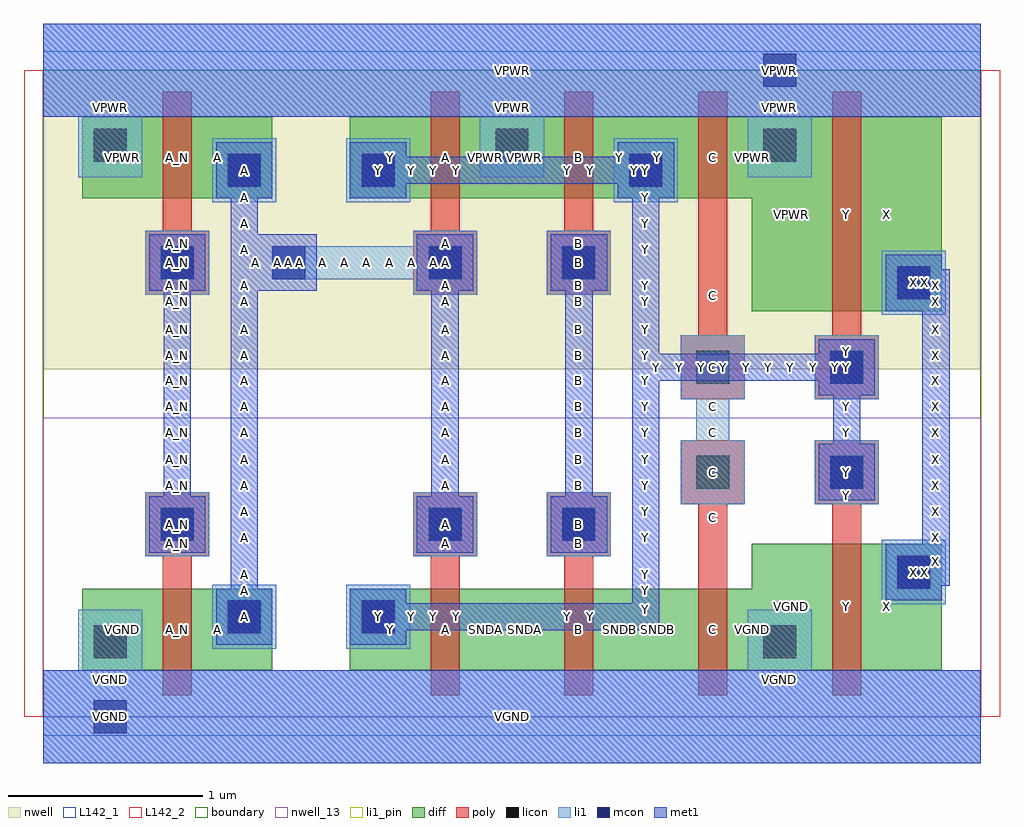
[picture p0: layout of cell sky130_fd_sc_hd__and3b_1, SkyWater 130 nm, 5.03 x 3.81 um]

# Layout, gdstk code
import gdstk
lib = gdstk.Library(unit=1e-6, precision=1e-09)
def R(c, l, rs):  # rectangles x0, y0, x1, y1
    for r in rs: c.add(gdstk.rectangle(r[:2], r[2:], *l))
def P(c, l, *ps):  # polygons
    for p in ps: c.add(gdstk.Polygon(p, *l))
nwell_13 = (64, 13)
nwell = (64, 20)
diff = (65, 20)
poly = (66, 20)
licon = (66, 44)
li1_pin = (67, 16)
li1 = (67, 20)
mcon = (67, 44)
met1 = (68, 20)
L142_1 = (142, 1)
L142_2 = (142, 2)
boundary = (235, 4)

sky130_fd_sc_hd__and3b_1 = lib.new_cell('sky130_fd_sc_hd__and3b_1')
R(sky130_fd_sc_hd__and3b_1, nwell_13, [(0,0,4.83,1.54)])
R(sky130_fd_sc_hd__and3b_1, nwell, [(0,1.79,4.83,3.33)])
R(sky130_fd_sc_hd__and3b_1, diff, [(0.2,0.24,1.18,0.66), (0.2,0.24,0.615,0.66), (0.615,0.24,1.18,0.66), (1.58,0.24,1.995,0.66), (1.995,0.24,2.685,0.66), (2.685,0.24,3.375,0.66), (4.065,0.24,4.63,0.89), (4.065,2.09,4.63,3.09), (0.2,2.67,1.18,3.09), (0.2,2.67,0.615,3.09), (0.615,2.67,1.18,3.09), (1.58,2.67,1.995,3.09), (1.995,2.67,2.685,3.09), (2.685,2.67,3.375,3.09)])
P(sky130_fd_sc_hd__and3b_1, diff, [(1.58,0.24),(1.58,0.66),(3.65,0.66),(3.65,0.89),(4.63,0.89),(4.63,0.24)],
  [(3.65,2.09),(3.65,2.67),(1.58,2.67),(1.58,3.09),(4.63,3.09),(4.63,2.09)],
  [(3.375,0.24),(3.375,0.66),(3.65,0.66),(3.65,0.89),(4.065,0.89),(4.065,0.24)],
  [(3.65,2.09),(3.65,2.67),(3.375,2.67),(3.375,3.09),(4.065,3.09),(4.065,2.09)])
P(sky130_fd_sc_hd__and3b_1, poly, [(2.685,0.11),(2.685,0.825),(2.595,0.825),(2.595,1.155),(2.925,1.155),(2.925,0.825),(2.835,0.825),(2.835,0.11)],
  [(2.595,2.175),(2.595,2.505),(2.685,2.505),(2.685,3.22),(2.835,3.22),(2.835,2.505),(2.925,2.505),(2.925,2.175)],
  [(4.065,0.11),(4.065,1.095),(3.975,1.095),(3.975,1.425),(4.305,1.425),(4.305,1.095),(4.215,1.095),(4.215,0.11)],
  [(3.975,1.635),(3.975,1.965),(4.065,1.965),(4.065,3.22),(4.215,3.22),(4.215,1.965),(4.305,1.965),(4.305,1.635)],
  [(0.615,0.11),(0.615,0.825),(0.525,0.825),(0.525,1.155),(0.855,1.155),(0.855,0.825),(0.765,0.825),(0.765,0.11)],
  [(0.525,2.175),(0.525,2.505),(0.615,2.505),(0.615,3.22),(0.765,3.22),(0.765,2.505),(0.855,2.505),(0.855,2.175)],
  [(3.375,0.11),(3.375,1.095),(3.285,1.095),(3.285,1.425),(3.615,1.425),(3.615,1.095),(3.525,1.095),(3.525,0.11)],
  [(3.285,1.635),(3.285,1.965),(3.375,1.965),(3.375,3.22),(3.525,3.22),(3.525,1.965),(3.615,1.965),(3.615,1.635)],
  [(1.995,0.11),(1.995,0.825),(1.905,0.825),(1.905,1.155),(2.235,1.155),(2.235,0.825),(2.145,0.825),(2.145,0.11)],
  [(1.905,2.175),(1.905,2.505),(1.995,2.505),(1.995,3.22),(2.145,3.22),(2.145,2.505),(2.235,2.505),(2.235,2.175)])
R(sky130_fd_sc_hd__and3b_1, licon, [(0.26,0.3,0.43,0.47), (3.71,0.3,3.88,0.47), (0.95,0.43,1.12,0.6), (1.64,0.43,1.81,0.6), (4.4,0.66,4.57,0.83), (0.605,0.905,0.775,1.075), (1.985,0.905,2.155,1.075), (2.675,0.905,2.845,1.075), (3.365,1.175,3.535,1.345), (4.055,1.175,4.225,1.345), (3.365,1.715,3.535,1.885), (4.055,1.715,4.225,1.885), (4.4,2.15,4.57,2.32), (0.605,2.255,0.775,2.425), (1.985,2.255,2.155,2.425), (2.675,2.255,2.845,2.425), (0.95,2.73,1.12,2.9), (1.64,2.73,1.81,2.9), (3.02,2.73,3.19,2.9), (0.26,2.86,0.43,3.03), (2.33,2.86,2.5,3.03), (3.71,2.86,3.88,3.03)])
R(sky130_fd_sc_hd__and3b_1, li1_pin, [(0,-0.24,4.83,0.24), (4.32,0.58,4.65,0.91), (0.525,0.825,0.855,1.155), (2.595,0.825,2.925,1.155), (0,3.09,4.83,3.57)])
P(sky130_fd_sc_hd__and3b_1, li1_pin, [(3.285,1.095),(3.285,1.425),(3.365,1.425),(3.365,1.635),(3.285,1.635),(3.285,1.965),(3.615,1.965),(3.615,1.635),(3.535,1.635),(3.535,1.425),(3.615,1.425),(3.615,1.095)])
R(sky130_fd_sc_hd__and3b_1, li1, [(0.87,0.35,1.2,0.68), (1.56,0.35,1.89,0.68), (4.32,0.58,4.65,0.91), (0.525,0.825,0.855,1.155), (1.905,0.825,2.235,1.155), (2.595,0.825,2.925,1.155), (3.975,1.095,4.305,1.425), (3.975,1.635,4.305,1.965), (4.32,2.07,4.65,2.4), (0.525,2.175,0.855,2.505), (2.595,2.175,2.925,2.505), (0.87,2.65,1.2,2.98), (1.56,2.65,1.89,2.98), (2.94,2.65,3.27,2.98)])
P(sky130_fd_sc_hd__and3b_1, li1, [(0.18,2.78),(0.18,3.09),(0,3.09),(0,3.57),(4.83,3.57),(4.83,3.09),(3.96,3.09),(3.96,2.78),(3.63,2.78),(3.63,3.09),(2.58,3.09),(2.58,2.78),(2.25,2.78),(2.25,3.09),(0.51,3.09),(0.51,2.78)],
  [(3.285,1.095),(3.285,1.425),(3.365,1.425),(3.365,1.635),(3.285,1.635),(3.285,1.965),(3.615,1.965),(3.615,1.635),(3.535,1.635),(3.535,1.425),(3.615,1.425),(3.615,1.095)],
  [(0,-0.24),(0,0.24),(0.18,0.24),(0.18,0.55),(0.51,0.55),(0.51,0.24),(3.63,0.24),(3.63,0.55),(3.96,0.55),(3.96,0.24),(4.83,0.24),(4.83,-0.24)],
  [(1.905,2.175),(1.905,2.255),(1.18,2.255),(1.18,2.425),(1.905,2.425),(1.905,2.505),(2.235,2.505),(2.235,2.175)])
R(sky130_fd_sc_hd__and3b_1, mcon, [(0.26,-0.085,0.43,0.085), (0.95,0.43,1.12,0.6), (1.64,0.43,1.81,0.6), (4.4,0.66,4.57,0.83), (0.605,0.905,0.775,1.075), (1.985,0.905,2.155,1.075), (2.675,0.905,2.845,1.075), (4.055,1.175,4.225,1.345), (4.055,1.715,4.225,1.885), (4.4,2.15,4.57,2.32), (0.605,2.255,0.775,2.425), (1.18,2.255,1.35,2.425), (1.985,2.255,2.155,2.425), (2.675,2.255,2.845,2.425), (0.95,2.73,1.12,2.9), (1.64,2.73,1.81,2.9), (3.02,2.73,3.19,2.9), (3.71,3.245,3.88,3.415)])
R(sky130_fd_sc_hd__and3b_1, met1, [(0,-0.24,4.83,0.24), (1.105,2.195,1.12,2.27), (1.105,2.41,1.12,2.485), (0,3.09,4.83,3.57)])
P(sky130_fd_sc_hd__and3b_1, met1, [(2.615,0.845),(2.615,1.135),(2.69,1.135),(2.69,2.195),(2.615,2.195),(2.615,2.485),(2.905,2.485),(2.905,2.195),(2.83,2.195),(2.83,1.135),(2.905,1.135),(2.905,0.845)],
  [(1.58,0.37),(1.58,0.66),(1.87,0.66),(1.87,0.585),(3.035,0.585),(3.035,2.67),(2.96,2.67),(2.96,2.745),(1.87,2.745),(1.87,2.67),(1.58,2.67),(1.58,2.96),(1.87,2.96),(1.87,2.885),(2.96,2.885),(2.96,2.96),(3.25,2.96),(3.25,2.67),(3.175,2.67),(3.175,1.87),(3.995,1.87),(3.995,1.945),(4.285,1.945),(4.285,1.655),(4.21,1.655),(4.21,1.405),(4.285,1.405),(4.285,1.115),(3.995,1.115),(3.995,1.405),(4.07,1.405),(4.07,1.655),(3.995,1.655),(3.995,1.73),(3.175,1.73),(3.175,0.445),(1.87,0.445),(1.87,0.37)],
  [(0.545,0.845),(0.545,1.135),(0.62,1.135),(0.62,2.195),(0.545,2.195),(0.545,2.485),(0.835,2.485),(0.835,2.195),(0.76,2.195),(0.76,1.135),(0.835,1.135),(0.835,0.845)],
  [(1.925,0.845),(1.925,1.135),(2,1.135),(2,2.195),(1.925,2.195),(1.925,2.485),(2.215,2.485),(2.215,2.195),(2.14,2.195),(2.14,1.135),(2.215,1.135),(2.215,0.845)],
  [(0.89,0.37),(0.89,0.66),(0.965,0.66),(0.965,2.67),(0.89,2.67),(0.89,2.96),(1.18,2.96),(1.18,2.67),(1.105,2.67),(1.105,2.41),(1.12,2.41),(1.12,2.485),(1.41,2.485),(1.41,2.195),(1.12,2.195),(1.12,2.27),(1.105,2.27),(1.105,0.66),(1.18,0.66),(1.18,0.37)],
  [(4.34,0.6),(4.34,0.89),(4.53,0.89),(4.53,2.09),(4.34,2.09),(4.34,2.38),(4.63,2.38),(4.63,2.305),(4.67,2.305),(4.67,0.675),(4.63,0.675),(4.63,0.6)])
R(sky130_fd_sc_hd__and3b_1, L142_1, [(0,-0.1,4.83,0), (0,3.33,4.83,3.43)])
R(sky130_fd_sc_hd__and3b_1, L142_2, [(-0.1,0,0,3.33), (4.83,0,4.93,3.33)])
R(sky130_fd_sc_hd__and3b_1, boundary, [(0,0,4.83,3.33)])
sky130_fd_sc_hd__and3b_1.add(gdstk.Label('VGND', (0.407,0.45), layer=65, texttype=20))
sky130_fd_sc_hd__and3b_1.add(gdstk.Label('A', (0.897,0.45), layer=65, texttype=20))
sky130_fd_sc_hd__and3b_1.add(gdstk.Label('SNDA', (2.477,0.45), layer=65, texttype=20))
sky130_fd_sc_hd__and3b_1.add(gdstk.Label('SNDB', (2.967,0.45), layer=65, texttype=20))
sky130_fd_sc_hd__and3b_1.add(gdstk.Label('Y', (1.787,0.45), layer=65, texttype=20))
sky130_fd_sc_hd__and3b_1.add(gdstk.Label('SNDA', (2.277,0.45), layer=65, texttype=20))
sky130_fd_sc_hd__and3b_1.add(gdstk.Label('VGND', (3.857,0.565), layer=65, texttype=20))
sky130_fd_sc_hd__and3b_1.add(gdstk.Label('X', (4.347,0.565), layer=65, texttype=20))
sky130_fd_sc_hd__and3b_1.add(gdstk.Label('SNDB', (3.167,0.45), layer=65, texttype=20))
sky130_fd_sc_hd__and3b_1.add(gdstk.Label('VGND', (3.657,0.45), layer=65, texttype=20))
sky130_fd_sc_hd__and3b_1.add(gdstk.Label('VGND', (0.407,0.45), layer=65, texttype=20))
sky130_fd_sc_hd__and3b_1.add(gdstk.Label('A', (0.897,0.45), layer=65, texttype=20))
sky130_fd_sc_hd__and3b_1.add(gdstk.Label('SNDA', (2.477,0.45), layer=65, texttype=20))
sky130_fd_sc_hd__and3b_1.add(gdstk.Label('SNDB', (2.967,0.45), layer=65, texttype=20))
sky130_fd_sc_hd__and3b_1.add(gdstk.Label('Y', (1.787,0.45), layer=65, texttype=20))
sky130_fd_sc_hd__and3b_1.add(gdstk.Label('SNDA', (2.277,0.45), layer=65, texttype=20))
sky130_fd_sc_hd__and3b_1.add(gdstk.Label('VGND', (3.857,0.565), layer=65, texttype=20))
sky130_fd_sc_hd__and3b_1.add(gdstk.Label('X', (4.347,0.565), layer=65, texttype=20))
sky130_fd_sc_hd__and3b_1.add(gdstk.Label('SNDB', (3.167,0.45), layer=65, texttype=20))
sky130_fd_sc_hd__and3b_1.add(gdstk.Label('VGND', (3.657,0.45), layer=65, texttype=20))
sky130_fd_sc_hd__and3b_1.add(gdstk.Label('VGND', (0.345,0.385), layer=65, texttype=20))
sky130_fd_sc_hd__and3b_1.add(gdstk.Label('VGND', (3.795,0.385), layer=65, texttype=20))
sky130_fd_sc_hd__and3b_1.add(gdstk.Label('A', (1.035,0.515), layer=65, texttype=20))
sky130_fd_sc_hd__and3b_1.add(gdstk.Label('Y', (1.725,0.515), layer=65, texttype=20))
sky130_fd_sc_hd__and3b_1.add(gdstk.Label('X', (4.485,0.745), layer=65, texttype=20))
sky130_fd_sc_hd__and3b_1.add(gdstk.Label('Y', (3.167,2.88), layer=65, texttype=20))
sky130_fd_sc_hd__and3b_1.add(gdstk.Label('VPWR', (3.657,2.88), layer=65, texttype=20))
sky130_fd_sc_hd__and3b_1.add(gdstk.Label('VPWR', (2.477,2.88), layer=65, texttype=20))
sky130_fd_sc_hd__and3b_1.add(gdstk.Label('Y', (2.967,2.88), layer=65, texttype=20))
sky130_fd_sc_hd__and3b_1.add(gdstk.Label('Y', (1.787,2.88), layer=65, texttype=20))
sky130_fd_sc_hd__and3b_1.add(gdstk.Label('VPWR', (2.277,2.88), layer=65, texttype=20))
sky130_fd_sc_hd__and3b_1.add(gdstk.Label('VPWR', (3.857,2.59), layer=65, texttype=20))
sky130_fd_sc_hd__and3b_1.add(gdstk.Label('X', (4.347,2.59), layer=65, texttype=20))
sky130_fd_sc_hd__and3b_1.add(gdstk.Label('VPWR', (0.407,2.88), layer=65, texttype=20))
sky130_fd_sc_hd__and3b_1.add(gdstk.Label('A', (0.897,2.88), layer=65, texttype=20))
sky130_fd_sc_hd__and3b_1.add(gdstk.Label('Y', (3.167,2.88), layer=65, texttype=20))
sky130_fd_sc_hd__and3b_1.add(gdstk.Label('VPWR', (3.657,2.88), layer=65, texttype=20))
sky130_fd_sc_hd__and3b_1.add(gdstk.Label('VPWR', (2.477,2.88), layer=65, texttype=20))
sky130_fd_sc_hd__and3b_1.add(gdstk.Label('Y', (2.967,2.88), layer=65, texttype=20))
sky130_fd_sc_hd__and3b_1.add(gdstk.Label('Y', (1.787,2.88), layer=65, texttype=20))
sky130_fd_sc_hd__and3b_1.add(gdstk.Label('VPWR', (2.277,2.88), layer=65, texttype=20))
sky130_fd_sc_hd__and3b_1.add(gdstk.Label('VPWR', (3.857,2.59), layer=65, texttype=20))
sky130_fd_sc_hd__and3b_1.add(gdstk.Label('X', (4.347,2.59), layer=65, texttype=20))
sky130_fd_sc_hd__and3b_1.add(gdstk.Label('VPWR', (0.407,2.88), layer=65, texttype=20))
sky130_fd_sc_hd__and3b_1.add(gdstk.Label('A', (0.897,2.88), layer=65, texttype=20))
sky130_fd_sc_hd__and3b_1.add(gdstk.Label('A', (1.035,2.815), layer=65, texttype=20))
sky130_fd_sc_hd__and3b_1.add(gdstk.Label('Y', (3.105,2.815), layer=65, texttype=20))
sky130_fd_sc_hd__and3b_1.add(gdstk.Label('Y', (1.725,2.815), layer=65, texttype=20))
sky130_fd_sc_hd__and3b_1.add(gdstk.Label('X', (4.485,2.235), layer=65, texttype=20))
sky130_fd_sc_hd__and3b_1.add(gdstk.Label('VPWR', (3.795,2.945), layer=65, texttype=20))
sky130_fd_sc_hd__and3b_1.add(gdstk.Label('VPWR', (0.345,2.945), layer=65, texttype=20))
sky130_fd_sc_hd__and3b_1.add(gdstk.Label('VPWR', (2.415,2.945), layer=65, texttype=20))
sky130_fd_sc_hd__and3b_1.add(gdstk.Label('A_N', (0.69,0.45), layer=66, texttype=20))
sky130_fd_sc_hd__and3b_1.add(gdstk.Label('C', (3.45,2.88), layer=66, texttype=20))
sky130_fd_sc_hd__and3b_1.add(gdstk.Label('B', (2.76,0.45), layer=66, texttype=20))
sky130_fd_sc_hd__and3b_1.add(gdstk.Label('B', (2.76,2.88), layer=66, texttype=20))
sky130_fd_sc_hd__and3b_1.add(gdstk.Label('A', (2.07,2.88), layer=66, texttype=20))
sky130_fd_sc_hd__and3b_1.add(gdstk.Label('Y', (4.14,2.59), layer=66, texttype=20))
sky130_fd_sc_hd__and3b_1.add(gdstk.Label('A', (2.07,0.45), layer=66, texttype=20))
sky130_fd_sc_hd__and3b_1.add(gdstk.Label('Y', (4.14,0.565), layer=66, texttype=20))
sky130_fd_sc_hd__and3b_1.add(gdstk.Label('A_N', (0.69,2.88), layer=66, texttype=20))
sky130_fd_sc_hd__and3b_1.add(gdstk.Label('C', (3.45,0.45), layer=66, texttype=20))
sky130_fd_sc_hd__and3b_1.add(gdstk.Label('A_N', (0.69,0.45), layer=66, texttype=20))
sky130_fd_sc_hd__and3b_1.add(gdstk.Label('C', (3.45,2.88), layer=66, texttype=20))
sky130_fd_sc_hd__and3b_1.add(gdstk.Label('B', (2.76,0.45), layer=66, texttype=20))
sky130_fd_sc_hd__and3b_1.add(gdstk.Label('B', (2.76,2.88), layer=66, texttype=20))
sky130_fd_sc_hd__and3b_1.add(gdstk.Label('A', (2.07,2.88), layer=66, texttype=20))
sky130_fd_sc_hd__and3b_1.add(gdstk.Label('Y', (4.14,2.59), layer=66, texttype=20))
sky130_fd_sc_hd__and3b_1.add(gdstk.Label('A', (2.07,0.45), layer=66, texttype=20))
sky130_fd_sc_hd__and3b_1.add(gdstk.Label('Y', (4.14,0.565), layer=66, texttype=20))
sky130_fd_sc_hd__and3b_1.add(gdstk.Label('A_N', (0.69,2.88), layer=66, texttype=20))
sky130_fd_sc_hd__and3b_1.add(gdstk.Label('C', (3.45,0.45), layer=66, texttype=20))
sky130_fd_sc_hd__and3b_1.add(gdstk.Label('A', (2.07,2.44), layer=66, texttype=20))
sky130_fd_sc_hd__and3b_1.add(gdstk.Label('A', (2.07,0.89), layer=66, texttype=20))
sky130_fd_sc_hd__and3b_1.add(gdstk.Label('Y', (4.14,1.88), layer=66, texttype=20))
sky130_fd_sc_hd__and3b_1.add(gdstk.Label('Y', (4.14,1.14), layer=66, texttype=20))
sky130_fd_sc_hd__and3b_1.add(gdstk.Label('A_N', (0.69,0.89), layer=66, texttype=20))
sky130_fd_sc_hd__and3b_1.add(gdstk.Label('A_N', (0.69,2.44), layer=66, texttype=20))
sky130_fd_sc_hd__and3b_1.add(gdstk.Label('C', (3.45,2.17), layer=66, texttype=20))
sky130_fd_sc_hd__and3b_1.add(gdstk.Label('C', (3.45,1.025), layer=66, texttype=20))
sky130_fd_sc_hd__and3b_1.add(gdstk.Label('B', (2.76,0.89), layer=66, texttype=20))
sky130_fd_sc_hd__and3b_1.add(gdstk.Label('B', (2.76,2.44), layer=66, texttype=20))
sky130_fd_sc_hd__and3b_1.add(gdstk.Label('A', (2.07,2.34), layer=66, texttype=20))
sky130_fd_sc_hd__and3b_1.add(gdstk.Label('A', (2.07,0.99), layer=66, texttype=20))
sky130_fd_sc_hd__and3b_1.add(gdstk.Label('Y', (4.14,1.8), layer=66, texttype=20))
sky130_fd_sc_hd__and3b_1.add(gdstk.Label('Y', (4.14,1.26), layer=66, texttype=20))
sky130_fd_sc_hd__and3b_1.add(gdstk.Label('A_N', (0.69,0.99), layer=66, texttype=20))
sky130_fd_sc_hd__and3b_1.add(gdstk.Label('A_N', (0.69,2.34), layer=66, texttype=20))
sky130_fd_sc_hd__and3b_1.add(gdstk.Label('C', (3.45,1.8), layer=66, texttype=20))
sky130_fd_sc_hd__and3b_1.add(gdstk.Label('C', (3.45,1.26), layer=66, texttype=20))
sky130_fd_sc_hd__and3b_1.add(gdstk.Label('B', (2.76,0.99), layer=66, texttype=20))
sky130_fd_sc_hd__and3b_1.add(gdstk.Label('B', (2.76,2.34), layer=66, texttype=20))
sky130_fd_sc_hd__and3b_1.add(gdstk.Label('A', (1.035,2.815), layer=66, texttype=44))
sky130_fd_sc_hd__and3b_1.add(gdstk.Label('Y', (3.105,2.815), layer=66, texttype=44))
sky130_fd_sc_hd__and3b_1.add(gdstk.Label('Y', (1.725,2.815), layer=66, texttype=44))
sky130_fd_sc_hd__and3b_1.add(gdstk.Label('X', (4.485,2.235), layer=66, texttype=44))
sky130_fd_sc_hd__and3b_1.add(gdstk.Label('VPWR', (3.795,2.945), layer=66, texttype=44))
sky130_fd_sc_hd__and3b_1.add(gdstk.Label('VPWR', (0.345,2.945), layer=66, texttype=44))
sky130_fd_sc_hd__and3b_1.add(gdstk.Label('VPWR', (2.415,2.945), layer=66, texttype=44))
sky130_fd_sc_hd__and3b_1.add(gdstk.Label('VGND', (0.345,0.385), layer=66, texttype=44))
sky130_fd_sc_hd__and3b_1.add(gdstk.Label('VGND', (3.795,0.385), layer=66, texttype=44))
sky130_fd_sc_hd__and3b_1.add(gdstk.Label('A', (1.035,0.515), layer=66, texttype=44))
sky130_fd_sc_hd__and3b_1.add(gdstk.Label('Y', (1.725,0.515), layer=66, texttype=44))
sky130_fd_sc_hd__and3b_1.add(gdstk.Label('X', (4.485,0.745), layer=66, texttype=44))
sky130_fd_sc_hd__and3b_1.add(gdstk.Label('A', (2.07,2.34), layer=66, texttype=44))
sky130_fd_sc_hd__and3b_1.add(gdstk.Label('A', (2.07,0.99), layer=66, texttype=44))
sky130_fd_sc_hd__and3b_1.add(gdstk.Label('Y', (4.14,1.8), layer=66, texttype=44))
sky130_fd_sc_hd__and3b_1.add(gdstk.Label('Y', (4.14,1.26), layer=66, texttype=44))
sky130_fd_sc_hd__and3b_1.add(gdstk.Label('A_N', (0.69,0.99), layer=66, texttype=44))
sky130_fd_sc_hd__and3b_1.add(gdstk.Label('A_N', (0.69,2.34), layer=66, texttype=44))
sky130_fd_sc_hd__and3b_1.add(gdstk.Label('C', (3.45,1.8), layer=66, texttype=44))
sky130_fd_sc_hd__and3b_1.add(gdstk.Label('C', (3.45,1.26), layer=66, texttype=44))
sky130_fd_sc_hd__and3b_1.add(gdstk.Label('B', (2.76,0.99), layer=66, texttype=44))
sky130_fd_sc_hd__and3b_1.add(gdstk.Label('B', (2.76,2.34), layer=66, texttype=44))
sky130_fd_sc_hd__and3b_1.add(gdstk.Label('VPWR', (2.415,3.33), layer=67, texttype=20))
sky130_fd_sc_hd__and3b_1.add(gdstk.Label('VGND', (2.415,0), layer=67, texttype=20))
sky130_fd_sc_hd__and3b_1.add(gdstk.Label('VPWR', (2.415,3.33), layer=67, texttype=20))
sky130_fd_sc_hd__and3b_1.add(gdstk.Label('VGND', (2.415,0), layer=67, texttype=20))
sky130_fd_sc_hd__and3b_1.add(gdstk.Label('VGND', (0.345,0.192), layer=67, texttype=20))
sky130_fd_sc_hd__and3b_1.add(gdstk.Label('VGND', (3.795,0.192), layer=67, texttype=20))
sky130_fd_sc_hd__and3b_1.add(gdstk.Label('A', (1.322,2.34), layer=67, texttype=20))
sky130_fd_sc_hd__and3b_1.add(gdstk.Label('A', (1.437,2.34), layer=67, texttype=20))
sky130_fd_sc_hd__and3b_1.add(gdstk.Label('A', (1.552,2.34), layer=67, texttype=20))
sky130_fd_sc_hd__and3b_1.add(gdstk.Label('A', (1.667,2.34), layer=67, texttype=20))
sky130_fd_sc_hd__and3b_1.add(gdstk.Label('A', (1.782,2.34), layer=67, texttype=20))
sky130_fd_sc_hd__and3b_1.add(gdstk.Label('A', (1.897,2.34), layer=67, texttype=20))
sky130_fd_sc_hd__and3b_1.add(gdstk.Label('A', (2.012,2.34), layer=67, texttype=20))
sky130_fd_sc_hd__and3b_1.add(gdstk.Label('VPWR', (3.795,3.137), layer=67, texttype=20))
sky130_fd_sc_hd__and3b_1.add(gdstk.Label('VPWR', (0.345,3.137), layer=67, texttype=20))
sky130_fd_sc_hd__and3b_1.add(gdstk.Label('VPWR', (2.415,3.137), layer=67, texttype=20))
sky130_fd_sc_hd__and3b_1.add(gdstk.Label('C', (3.45,1.732), layer=67, texttype=20))
sky130_fd_sc_hd__and3b_1.add(gdstk.Label('C', (3.45,1.597), layer=67, texttype=20))
sky130_fd_sc_hd__and3b_1.add(gdstk.Label('C', (3.45,1.462), layer=67, texttype=20))
sky130_fd_sc_hd__and3b_1.add(gdstk.Label('C', (3.45,1.327), layer=67, texttype=20))
sky130_fd_sc_hd__and3b_1.add(gdstk.Label('VGND', (0.345,0.385), layer=67, texttype=20))
sky130_fd_sc_hd__and3b_1.add(gdstk.Label('VGND', (0.345,0), layer=67, texttype=20))
sky130_fd_sc_hd__and3b_1.add(gdstk.Label('VGND', (3.795,0.385), layer=67, texttype=20))
sky130_fd_sc_hd__and3b_1.add(gdstk.Label('A', (1.035,0.515), layer=67, texttype=20))
sky130_fd_sc_hd__and3b_1.add(gdstk.Label('A', (1.035,0.515), layer=67, texttype=20))
sky130_fd_sc_hd__and3b_1.add(gdstk.Label('A', (1.035,2.815), layer=67, texttype=20))
sky130_fd_sc_hd__and3b_1.add(gdstk.Label('A', (1.035,2.815), layer=67, texttype=20))
sky130_fd_sc_hd__and3b_1.add(gdstk.Label('A', (1.265,2.34), layer=67, texttype=20))
sky130_fd_sc_hd__and3b_1.add(gdstk.Label('A', (2.07,2.34), layer=67, texttype=20))
sky130_fd_sc_hd__and3b_1.add(gdstk.Label('A', (2.07,2.34), layer=67, texttype=20))
sky130_fd_sc_hd__and3b_1.add(gdstk.Label('A', (2.07,0.99), layer=67, texttype=20))
sky130_fd_sc_hd__and3b_1.add(gdstk.Label('A', (2.07,0.99), layer=67, texttype=20))
sky130_fd_sc_hd__and3b_1.add(gdstk.Label('Y', (1.725,0.515), layer=67, texttype=20))
sky130_fd_sc_hd__and3b_1.add(gdstk.Label('Y', (1.725,0.515), layer=67, texttype=20))
sky130_fd_sc_hd__and3b_1.add(gdstk.Label('Y', (3.105,2.815), layer=67, texttype=20))
sky130_fd_sc_hd__and3b_1.add(gdstk.Label('Y', (3.105,2.815), layer=67, texttype=20))
sky130_fd_sc_hd__and3b_1.add(gdstk.Label('Y', (4.14,1.8), layer=67, texttype=20))
sky130_fd_sc_hd__and3b_1.add(gdstk.Label('Y', (4.14,1.8), layer=67, texttype=20))
sky130_fd_sc_hd__and3b_1.add(gdstk.Label('Y', (4.14,1.26), layer=67, texttype=20))
sky130_fd_sc_hd__and3b_1.add(gdstk.Label('Y', (4.14,1.26), layer=67, texttype=20))
sky130_fd_sc_hd__and3b_1.add(gdstk.Label('Y', (1.725,2.815), layer=67, texttype=20))
sky130_fd_sc_hd__and3b_1.add(gdstk.Label('Y', (1.725,2.815), layer=67, texttype=20))
sky130_fd_sc_hd__and3b_1.add(gdstk.Label('X', (4.485,0.745), layer=67, texttype=20))
sky130_fd_sc_hd__and3b_1.add(gdstk.Label('X', (4.485,0.745), layer=67, texttype=20))
sky130_fd_sc_hd__and3b_1.add(gdstk.Label('X', (4.485,2.235), layer=67, texttype=20))
sky130_fd_sc_hd__and3b_1.add(gdstk.Label('X', (4.485,2.235), layer=67, texttype=20))
sky130_fd_sc_hd__and3b_1.add(gdstk.Label('VPWR', (3.795,2.945), layer=67, texttype=20))
sky130_fd_sc_hd__and3b_1.add(gdstk.Label('VPWR', (3.795,3.33), layer=67, texttype=20))
sky130_fd_sc_hd__and3b_1.add(gdstk.Label('VPWR', (0.345,2.945), layer=67, texttype=20))
sky130_fd_sc_hd__and3b_1.add(gdstk.Label('VPWR', (2.415,2.945), layer=67, texttype=20))
sky130_fd_sc_hd__and3b_1.add(gdstk.Label('A_N', (0.69,0.99), layer=67, texttype=20))
sky130_fd_sc_hd__and3b_1.add(gdstk.Label('A_N', (0.69,0.99), layer=67, texttype=20))
sky130_fd_sc_hd__and3b_1.add(gdstk.Label('A_N', (0.69,2.34), layer=67, texttype=20))
sky130_fd_sc_hd__and3b_1.add(gdstk.Label('A_N', (0.69,2.34), layer=67, texttype=20))
sky130_fd_sc_hd__and3b_1.add(gdstk.Label('C', (3.45,1.8), layer=67, texttype=20))
sky130_fd_sc_hd__and3b_1.add(gdstk.Label('C', (3.45,1.26), layer=67, texttype=20))
sky130_fd_sc_hd__and3b_1.add(gdstk.Label('B', (2.76,0.99), layer=67, texttype=20))
sky130_fd_sc_hd__and3b_1.add(gdstk.Label('B', (2.76,0.99), layer=67, texttype=20))
sky130_fd_sc_hd__and3b_1.add(gdstk.Label('B', (2.76,2.34), layer=67, texttype=20))
sky130_fd_sc_hd__and3b_1.add(gdstk.Label('B', (2.76,2.34), layer=67, texttype=20))
sky130_fd_sc_hd__and3b_1.add(gdstk.Label('X', (4.485,0.745), layer=67, texttype=5))
sky130_fd_sc_hd__and3b_1.add(gdstk.Label('A_N', (0.69,0.99), layer=67, texttype=5))
sky130_fd_sc_hd__and3b_1.add(gdstk.Label('C', (3.45,1.26), layer=67, texttype=5))
sky130_fd_sc_hd__and3b_1.add(gdstk.Label('B', (2.76,0.99), layer=67, texttype=5))
sky130_fd_sc_hd__and3b_1.add(gdstk.Label('VGND', (2.415,0), layer=67, texttype=5))
sky130_fd_sc_hd__and3b_1.add(gdstk.Label('VPWR', (2.415,3.33), layer=67, texttype=5))
sky130_fd_sc_hd__and3b_1.add(gdstk.Label('VGND', (0.345,0), layer=67, texttype=44))
sky130_fd_sc_hd__and3b_1.add(gdstk.Label('A', (1.035,0.515), layer=67, texttype=44))
sky130_fd_sc_hd__and3b_1.add(gdstk.Label('A', (1.035,2.815), layer=67, texttype=44))
sky130_fd_sc_hd__and3b_1.add(gdstk.Label('A', (1.265,2.34), layer=67, texttype=44))
sky130_fd_sc_hd__and3b_1.add(gdstk.Label('A', (2.07,2.34), layer=67, texttype=44))
sky130_fd_sc_hd__and3b_1.add(gdstk.Label('A', (2.07,0.99), layer=67, texttype=44))
sky130_fd_sc_hd__and3b_1.add(gdstk.Label('Y', (1.725,0.515), layer=67, texttype=44))
sky130_fd_sc_hd__and3b_1.add(gdstk.Label('Y', (3.105,2.815), layer=67, texttype=44))
sky130_fd_sc_hd__and3b_1.add(gdstk.Label('Y', (4.14,1.8), layer=67, texttype=44))
sky130_fd_sc_hd__and3b_1.add(gdstk.Label('Y', (4.14,1.26), layer=67, texttype=44))
sky130_fd_sc_hd__and3b_1.add(gdstk.Label('Y', (1.725,2.815), layer=67, texttype=44))
sky130_fd_sc_hd__and3b_1.add(gdstk.Label('X', (4.485,0.745), layer=67, texttype=44))
sky130_fd_sc_hd__and3b_1.add(gdstk.Label('X', (4.485,2.235), layer=67, texttype=44))
sky130_fd_sc_hd__and3b_1.add(gdstk.Label('VPWR', (3.795,3.33), layer=67, texttype=44))
sky130_fd_sc_hd__and3b_1.add(gdstk.Label('A_N', (0.69,0.99), layer=67, texttype=44))
sky130_fd_sc_hd__and3b_1.add(gdstk.Label('A_N', (0.69,2.34), layer=67, texttype=44))
sky130_fd_sc_hd__and3b_1.add(gdstk.Label('B', (2.76,0.99), layer=67, texttype=44))
sky130_fd_sc_hd__and3b_1.add(gdstk.Label('B', (2.76,2.34), layer=67, texttype=44))
sky130_fd_sc_hd__and3b_1.add(gdstk.Label('Y', (3.105,1.732), layer=68, texttype=20))
sky130_fd_sc_hd__and3b_1.add(gdstk.Label('Y', (4.14,1.732), layer=68, texttype=20))
sky130_fd_sc_hd__and3b_1.add(gdstk.Label('X', (4.6,1.732), layer=68, texttype=20))
sky130_fd_sc_hd__and3b_1.add(gdstk.Label('B', (2.76,1.732), layer=68, texttype=20))
sky130_fd_sc_hd__and3b_1.add(gdstk.Label('Y', (3.047,2.815), layer=68, texttype=20))
sky130_fd_sc_hd__and3b_1.add(gdstk.Label('Y', (3.277,1.8), layer=68, texttype=20))
sky130_fd_sc_hd__and3b_1.add(gdstk.Label('Y', (3.392,1.8), layer=68, texttype=20))
sky130_fd_sc_hd__and3b_1.add(gdstk.Label('Y', (3.507,1.8), layer=68, texttype=20))
sky130_fd_sc_hd__and3b_1.add(gdstk.Label('Y', (3.622,1.8), layer=68, texttype=20))
sky130_fd_sc_hd__and3b_1.add(gdstk.Label('Y', (3.737,1.8), layer=68, texttype=20))
sky130_fd_sc_hd__and3b_1.add(gdstk.Label('Y', (3.852,1.8), layer=68, texttype=20))
sky130_fd_sc_hd__and3b_1.add(gdstk.Label('Y', (3.967,1.8), layer=68, texttype=20))
sky130_fd_sc_hd__and3b_1.add(gdstk.Label('Y', (4.082,1.8), layer=68, texttype=20))
sky130_fd_sc_hd__and3b_1.add(gdstk.Label('Y', (3.105,1.862), layer=68, texttype=20))
sky130_fd_sc_hd__and3b_1.add(gdstk.Label('Y', (3.162,1.8), layer=68, texttype=20))
sky130_fd_sc_hd__and3b_1.add(gdstk.Label('Y', (2.932,2.815), layer=68, texttype=20))
sky130_fd_sc_hd__and3b_1.add(gdstk.Label('Y', (2.817,2.815), layer=68, texttype=20))
sky130_fd_sc_hd__and3b_1.add(gdstk.Label('Y', (2.702,2.815), layer=68, texttype=20))
sky130_fd_sc_hd__and3b_1.add(gdstk.Label('Y', (2.587,2.815), layer=68, texttype=20))
sky130_fd_sc_hd__and3b_1.add(gdstk.Label('Y', (3.105,1.997), layer=68, texttype=20))
sky130_fd_sc_hd__and3b_1.add(gdstk.Label('Y', (3.105,2.137), layer=68, texttype=20))
sky130_fd_sc_hd__and3b_1.add(gdstk.Label('Y', (3.105,2.22), layer=68, texttype=20))
sky130_fd_sc_hd__and3b_1.add(gdstk.Label('Y', (3.105,2.287), layer=68, texttype=20))
sky130_fd_sc_hd__and3b_1.add(gdstk.Label('X', (4.6,1.862), layer=68, texttype=20))
sky130_fd_sc_hd__and3b_1.add(gdstk.Label('X', (4.6,1.997), layer=68, texttype=20))
sky130_fd_sc_hd__and3b_1.add(gdstk.Label('X', (4.6,2.137), layer=68, texttype=20))
sky130_fd_sc_hd__and3b_1.add(gdstk.Label('X', (4.6,2.22), layer=68, texttype=20))
sky130_fd_sc_hd__and3b_1.add(gdstk.Label('X', (4.542,2.235), layer=68, texttype=20))
sky130_fd_sc_hd__and3b_1.add(gdstk.Label('Y', (3.105,2.407), layer=68, texttype=20))
sky130_fd_sc_hd__and3b_1.add(gdstk.Label('Y', (3.105,2.542), layer=68, texttype=20))
sky130_fd_sc_hd__and3b_1.add(gdstk.Label('Y', (3.105,2.677), layer=68, texttype=20))
sky130_fd_sc_hd__and3b_1.add(gdstk.Label('Y', (3.105,2.78), layer=68, texttype=20))
sky130_fd_sc_hd__and3b_1.add(gdstk.Label('B', (2.76,1.862), layer=68, texttype=20))
sky130_fd_sc_hd__and3b_1.add(gdstk.Label('B', (2.76,1.997), layer=68, texttype=20))
sky130_fd_sc_hd__and3b_1.add(gdstk.Label('B', (2.76,2.137), layer=68, texttype=20))
sky130_fd_sc_hd__and3b_1.add(gdstk.Label('B', (2.76,2.22), layer=68, texttype=20))
sky130_fd_sc_hd__and3b_1.add(gdstk.Label('B', (2.76,2.287), layer=68, texttype=20))
sky130_fd_sc_hd__and3b_1.add(gdstk.Label('Y', (3.105,2.815), layer=68, texttype=20))
sky130_fd_sc_hd__and3b_1.add(gdstk.Label('Y', (4.14,1.8), layer=68, texttype=20))
sky130_fd_sc_hd__and3b_1.add(gdstk.Label('X', (4.485,2.235), layer=68, texttype=20))
sky130_fd_sc_hd__and3b_1.add(gdstk.Label('VPWR', (3.795,3.33), layer=68, texttype=20))
sky130_fd_sc_hd__and3b_1.add(gdstk.Label('B', (2.76,2.34), layer=68, texttype=20))
sky130_fd_sc_hd__and3b_1.add(gdstk.Label('Y', (2.357,2.815), layer=68, texttype=20))
sky130_fd_sc_hd__and3b_1.add(gdstk.Label('A', (1.035,1.732), layer=68, texttype=20))
sky130_fd_sc_hd__and3b_1.add(gdstk.Label('Y', (2.242,2.815), layer=68, texttype=20))
sky130_fd_sc_hd__and3b_1.add(gdstk.Label('Y', (2.127,2.815), layer=68, texttype=20))
sky130_fd_sc_hd__and3b_1.add(gdstk.Label('Y', (2.012,2.815), layer=68, texttype=20))
sky130_fd_sc_hd__and3b_1.add(gdstk.Label('Y', (1.897,2.815), layer=68, texttype=20))
sky130_fd_sc_hd__and3b_1.add(gdstk.Label('Y', (1.782,2.815), layer=68, texttype=20))
sky130_fd_sc_hd__and3b_1.add(gdstk.Label('A', (1.035,1.997), layer=68, texttype=20))
sky130_fd_sc_hd__and3b_1.add(gdstk.Label('A', (1.035,2.137), layer=68, texttype=20))
sky130_fd_sc_hd__and3b_1.add(gdstk.Label('A', (1.035,2.22), layer=68, texttype=20))
sky130_fd_sc_hd__and3b_1.add(gdstk.Label('A', (1.035,2.287), layer=68, texttype=20))
sky130_fd_sc_hd__and3b_1.add(gdstk.Label('A', (1.035,2.407), layer=68, texttype=20))
sky130_fd_sc_hd__and3b_1.add(gdstk.Label('A', (1.092,2.34), layer=68, texttype=20))
sky130_fd_sc_hd__and3b_1.add(gdstk.Label('A', (1.035,2.542), layer=68, texttype=20))
sky130_fd_sc_hd__and3b_1.add(gdstk.Label('A', (1.035,2.677), layer=68, texttype=20))
sky130_fd_sc_hd__and3b_1.add(gdstk.Label('A', (1.035,2.78), layer=68, texttype=20))
sky130_fd_sc_hd__and3b_1.add(gdstk.Label('A_N', (0.69,1.862), layer=68, texttype=20))
sky130_fd_sc_hd__and3b_1.add(gdstk.Label('A_N', (0.69,1.997), layer=68, texttype=20))
sky130_fd_sc_hd__and3b_1.add(gdstk.Label('A_N', (0.69,2.137), layer=68, texttype=20))
sky130_fd_sc_hd__and3b_1.add(gdstk.Label('A_N', (0.69,2.22), layer=68, texttype=20))
sky130_fd_sc_hd__and3b_1.add(gdstk.Label('A_N', (0.69,2.287), layer=68, texttype=20))
sky130_fd_sc_hd__and3b_1.add(gdstk.Label('A', (1.207,2.34), layer=68, texttype=20))
sky130_fd_sc_hd__and3b_1.add(gdstk.Label('A', (2.07,2.287), layer=68, texttype=20))
sky130_fd_sc_hd__and3b_1.add(gdstk.Label('A', (2.07,2.22), layer=68, texttype=20))
sky130_fd_sc_hd__and3b_1.add(gdstk.Label('A', (2.07,2.137), layer=68, texttype=20))
sky130_fd_sc_hd__and3b_1.add(gdstk.Label('A', (2.07,1.997), layer=68, texttype=20))
sky130_fd_sc_hd__and3b_1.add(gdstk.Label('A', (2.07,1.862), layer=68, texttype=20))
sky130_fd_sc_hd__and3b_1.add(gdstk.Label('A', (1.035,1.862), layer=68, texttype=20))
sky130_fd_sc_hd__and3b_1.add(gdstk.Label('A', (1.035,2.815), layer=68, texttype=20))
sky130_fd_sc_hd__and3b_1.add(gdstk.Label('A', (1.265,2.34), layer=68, texttype=20))
sky130_fd_sc_hd__and3b_1.add(gdstk.Label('A', (2.07,2.34), layer=68, texttype=20))
sky130_fd_sc_hd__and3b_1.add(gdstk.Label('A_N', (0.69,1.732), layer=68, texttype=20))
sky130_fd_sc_hd__and3b_1.add(gdstk.Label('A', (2.07,1.732), layer=68, texttype=20))
sky130_fd_sc_hd__and3b_1.add(gdstk.Label('Y', (1.725,2.815), layer=68, texttype=20))
sky130_fd_sc_hd__and3b_1.add(gdstk.Label('VPWR', (2.415,3.33), layer=68, texttype=20))
sky130_fd_sc_hd__and3b_1.add(gdstk.Label('VPWR', (2.415,3.33), layer=68, texttype=20))
sky130_fd_sc_hd__and3b_1.add(gdstk.Label('A_N', (0.69,2.34), layer=68, texttype=20))
sky130_fd_sc_hd__and3b_1.add(gdstk.Label('Y', (2.472,2.815), layer=68, texttype=20))
sky130_fd_sc_hd__and3b_1.add(gdstk.Label('A', (1.035,1.462), layer=68, texttype=20))
sky130_fd_sc_hd__and3b_1.add(gdstk.Label('A_N', (0.69,1.057), layer=68, texttype=20))
sky130_fd_sc_hd__and3b_1.add(gdstk.Label('A_N', (0.69,1.192), layer=68, texttype=20))
sky130_fd_sc_hd__and3b_1.add(gdstk.Label('A_N', (0.69,1.327), layer=68, texttype=20))
sky130_fd_sc_hd__and3b_1.add(gdstk.Label('A_N', (0.69,1.462), layer=68, texttype=20))
sky130_fd_sc_hd__and3b_1.add(gdstk.Label('A', (1.035,0.55), layer=68, texttype=20))
sky130_fd_sc_hd__and3b_1.add(gdstk.Label('A', (1.035,0.652), layer=68, texttype=20))
sky130_fd_sc_hd__and3b_1.add(gdstk.Label('A', (2.07,1.462), layer=68, texttype=20))
sky130_fd_sc_hd__and3b_1.add(gdstk.Label('A', (2.07,1.327), layer=68, texttype=20))
sky130_fd_sc_hd__and3b_1.add(gdstk.Label('A', (2.07,1.192), layer=68, texttype=20))
sky130_fd_sc_hd__and3b_1.add(gdstk.Label('A', (2.07,1.057), layer=68, texttype=20))
sky130_fd_sc_hd__and3b_1.add(gdstk.Label('Y', (1.782,0.515), layer=68, texttype=20))
sky130_fd_sc_hd__and3b_1.add(gdstk.Label('Y', (1.897,0.515), layer=68, texttype=20))
sky130_fd_sc_hd__and3b_1.add(gdstk.Label('Y', (2.012,0.515), layer=68, texttype=20))
sky130_fd_sc_hd__and3b_1.add(gdstk.Label('Y', (2.127,0.515), layer=68, texttype=20))
sky130_fd_sc_hd__and3b_1.add(gdstk.Label('Y', (2.242,0.515), layer=68, texttype=20))
sky130_fd_sc_hd__and3b_1.add(gdstk.Label('A', (1.035,0.732), layer=68, texttype=20))
sky130_fd_sc_hd__and3b_1.add(gdstk.Label('A', (1.035,0.8), layer=68, texttype=20))
sky130_fd_sc_hd__and3b_1.add(gdstk.Label('A', (1.035,0.922), layer=68, texttype=20))
sky130_fd_sc_hd__and3b_1.add(gdstk.Label('VGND', (0.345,0), layer=68, texttype=20))
sky130_fd_sc_hd__and3b_1.add(gdstk.Label('A', (1.035,0.515), layer=68, texttype=20))
sky130_fd_sc_hd__and3b_1.add(gdstk.Label('Y', (2.357,0.515), layer=68, texttype=20))
sky130_fd_sc_hd__and3b_1.add(gdstk.Label('A_N', (0.69,1.597), layer=68, texttype=20))
sky130_fd_sc_hd__and3b_1.add(gdstk.Label('Y', (2.472,0.515), layer=68, texttype=20))
sky130_fd_sc_hd__and3b_1.add(gdstk.Label('A', (2.07,0.99), layer=68, texttype=20))
sky130_fd_sc_hd__and3b_1.add(gdstk.Label('Y', (1.725,0.515), layer=68, texttype=20))
sky130_fd_sc_hd__and3b_1.add(gdstk.Label('A', (1.035,1.597), layer=68, texttype=20))
sky130_fd_sc_hd__and3b_1.add(gdstk.Label('VGND', (2.415,0), layer=68, texttype=20))
sky130_fd_sc_hd__and3b_1.add(gdstk.Label('VGND', (2.415,0), layer=68, texttype=20))
sky130_fd_sc_hd__and3b_1.add(gdstk.Label('A', (2.07,1.597), layer=68, texttype=20))
sky130_fd_sc_hd__and3b_1.add(gdstk.Label('A', (1.035,1.057), layer=68, texttype=20))
sky130_fd_sc_hd__and3b_1.add(gdstk.Label('A_N', (0.69,0.99), layer=68, texttype=20))
sky130_fd_sc_hd__and3b_1.add(gdstk.Label('A', (1.035,1.192), layer=68, texttype=20))
sky130_fd_sc_hd__and3b_1.add(gdstk.Label('A', (1.035,1.327), layer=68, texttype=20))
sky130_fd_sc_hd__and3b_1.add(gdstk.Label('Y', (2.932,0.515), layer=68, texttype=20))
sky130_fd_sc_hd__and3b_1.add(gdstk.Label('Y', (3.047,0.515), layer=68, texttype=20))
sky130_fd_sc_hd__and3b_1.add(gdstk.Label('Y', (3.105,0.55), layer=68, texttype=20))
sky130_fd_sc_hd__and3b_1.add(gdstk.Label('X', (4.542,0.745), layer=68, texttype=20))
sky130_fd_sc_hd__and3b_1.add(gdstk.Label('X', (4.6,0.8), layer=68, texttype=20))
sky130_fd_sc_hd__and3b_1.add(gdstk.Label('B', (2.76,1.057), layer=68, texttype=20))
sky130_fd_sc_hd__and3b_1.add(gdstk.Label('B', (2.76,1.192), layer=68, texttype=20))
sky130_fd_sc_hd__and3b_1.add(gdstk.Label('B', (2.76,1.327), layer=68, texttype=20))
sky130_fd_sc_hd__and3b_1.add(gdstk.Label('B', (2.76,1.462), layer=68, texttype=20))
sky130_fd_sc_hd__and3b_1.add(gdstk.Label('X', (4.6,0.922), layer=68, texttype=20))
sky130_fd_sc_hd__and3b_1.add(gdstk.Label('X', (4.6,1.057), layer=68, texttype=20))
sky130_fd_sc_hd__and3b_1.add(gdstk.Label('X', (4.6,1.192), layer=68, texttype=20))
sky130_fd_sc_hd__and3b_1.add(gdstk.Label('X', (4.6,1.327), layer=68, texttype=20))
sky130_fd_sc_hd__and3b_1.add(gdstk.Label('X', (4.6,1.462), layer=68, texttype=20))
sky130_fd_sc_hd__and3b_1.add(gdstk.Label('Y', (3.105,0.652), layer=68, texttype=20))
sky130_fd_sc_hd__and3b_1.add(gdstk.Label('Y', (3.105,0.732), layer=68, texttype=20))
sky130_fd_sc_hd__and3b_1.add(gdstk.Label('X', (4.6,1.597), layer=68, texttype=20))
sky130_fd_sc_hd__and3b_1.add(gdstk.Label('B', (2.76,1.597), layer=68, texttype=20))
sky130_fd_sc_hd__and3b_1.add(gdstk.Label('Y', (3.105,1.597), layer=68, texttype=20))
sky130_fd_sc_hd__and3b_1.add(gdstk.Label('Y', (4.14,1.597), layer=68, texttype=20))
sky130_fd_sc_hd__and3b_1.add(gdstk.Label('Y', (3.105,0.8), layer=68, texttype=20))
sky130_fd_sc_hd__and3b_1.add(gdstk.Label('Y', (4.14,1.462), layer=68, texttype=20))
sky130_fd_sc_hd__and3b_1.add(gdstk.Label('Y', (4.14,1.327), layer=68, texttype=20))
sky130_fd_sc_hd__and3b_1.add(gdstk.Label('Y', (3.105,0.922), layer=68, texttype=20))
sky130_fd_sc_hd__and3b_1.add(gdstk.Label('Y', (3.105,1.057), layer=68, texttype=20))
sky130_fd_sc_hd__and3b_1.add(gdstk.Label('Y', (4.14,1.26), layer=68, texttype=20))
sky130_fd_sc_hd__and3b_1.add(gdstk.Label('Y', (3.105,1.192), layer=68, texttype=20))
sky130_fd_sc_hd__and3b_1.add(gdstk.Label('X', (4.485,0.745), layer=68, texttype=20))
sky130_fd_sc_hd__and3b_1.add(gdstk.Label('Y', (3.105,1.327), layer=68, texttype=20))
sky130_fd_sc_hd__and3b_1.add(gdstk.Label('Y', (3.105,1.462), layer=68, texttype=20))
sky130_fd_sc_hd__and3b_1.add(gdstk.Label('Y', (2.587,0.515), layer=68, texttype=20))
sky130_fd_sc_hd__and3b_1.add(gdstk.Label('Y', (2.702,0.515), layer=68, texttype=20))
sky130_fd_sc_hd__and3b_1.add(gdstk.Label('B', (2.76,0.99), layer=68, texttype=20))
sky130_fd_sc_hd__and3b_1.add(gdstk.Label('Y', (2.817,0.515), layer=68, texttype=20))
sky130_fd_sc_hd__and3b_1.add(gdstk.Label('VGND', (2.415,0), layer=68, texttype=5))
sky130_fd_sc_hd__and3b_1.add(gdstk.Label('VPWR', (2.415,3.33), layer=68, texttype=5))

lib.write_gds('sky130_fd_sc_hd__and3b_1.gds')
